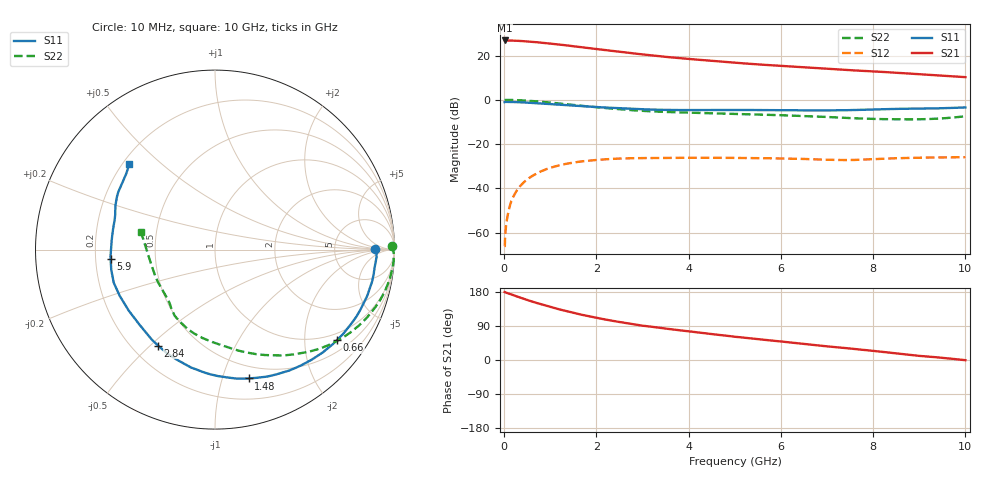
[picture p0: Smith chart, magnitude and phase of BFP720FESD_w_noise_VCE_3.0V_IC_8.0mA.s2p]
! Infineon Technologies  Discrete & RF Semiconductors
! BFP720FESD
! VCE =  3.0 V,  IC =  8.0 mA
! Common Emitter S-Parameters:  Jan 2016
# GHz  S  MA  R  50
!  f  S11  S21  S12  S22
! GHz  MAG  ANG  MAG  ANG  MAG  ANG  MAG  ANG
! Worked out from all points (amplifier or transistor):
!   233 points, 10 MHz to 10 GHz, reference 50 ohm
!   highest |S21| = 26.8 dB at 10 MHz (marker M1)
!   |S21| within 3 dB of that: start of sweep to 1.666 GHz
!   unconditionally stable (mu >= 1): start of sweep to 11.65 MHz; 6.659 GHz to end of sweep
!   at 200 MHz: K = 0.04, MSG = 35.2 dB, |S12| = -43.6 dB
!   at 1.74 GHz: K = 0.25, MSG = 25.6 dB, |S12| = -27.6 dB
!   at 10 GHz: K = 1.35, MAG = 14.5 dB, |S12| = -25.9 dB
!   lowest NFmin = 0.62 dB at 450 MHz
!   S11 on the Smith chart (normalised r, x): 10 MHz: 17, +0; 660 MHz: 0.80, -2.83; 1.48 GHz: 0.38, -1.22; 2.84 GHz: 0.30, -0.53; 5.9 GHz: 0.26, -0.04; 10 GHz: 0.23, +0.40
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0.01  0.8895 0.1  21.86 179.4  0.0005 1.8  0.9853 1.3
0.04  0.9004 -2.2  21.7 177.9  0.0014 81.9  0.9963 -1.3
0.11  0.8949 -6.3  21.76 175.2  0.0036 85.6  0.9965 -4.0
0.32  0.8835 -18.2  21.39 166.0  0.0104 79.0  0.9807 -11.7
0.5  0.8654 -28.1  20.78 158.4  0.016 73.5  0.9578 -18.0
0.66  0.8462 -36.5  20.11 152.2  0.0206 68.5  0.9314 -23.3
0.9  0.8164 -48.7  19.04 143.6  0.0269 61.7  0.8884 -30.9
1.1  0.7909 -58.4  18.11 136.8  0.0314 56.2  0.8482 -36.9
1.28  0.7671 -66.7  17.27 131.0  0.0349 51.6  0.8118 -42.1
1.48  0.7419 -75.3  16.31 125.1  0.0382 46.9  0.7718 -47.5
1.68  0.7187 -83.4  15.42 119.4  0.0408 42.6  0.7341 -52.5
1.92  0.6949 -92.3  14.36 113.3  0.0434 38.2  0.6938 -58.2
2.2  0.67 -101.6  13.24 106.7  0.0456 33.5  0.6526 -64.3
2.58  0.6397 -113.4  11.89 98.6  0.0476 28.0  0.6038 -72.2
2.84  0.6214 -120.7  11.06 93.6  0.0484 24.8  0.5771 -77.0
3.4  0.5954 -133.3  9.552 84.4  0.0488 20.2  0.5388 -84.8
4.5  0.59 -154.0  7.596 68.3  0.0495 14.0  0.4979 -97.9
5.1  0.592 -163.3  6.762 60.2  0.0489 11.5  0.479 -104.8
5.9  0.5839 -174.7  5.937 50.1  0.0478 9.1  0.4534 -113.7
6.8  0.5779 171.7  5.186 38.6  0.0453 8.6  0.419 -124.1
8.4  0.6217 151.3  4.15 18.7  0.0478 15.4  0.3659 -150.1
10  0.6747 135.0  3.251 -0.5  0.0508 14.0  0.4255 166.3
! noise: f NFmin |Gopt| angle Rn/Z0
0.45  0.62  0.38  3  0.13
2.4  0.71  0.25  30  0.13
5.5  0.86  0.32  112  0.09
10  1.34  0.28  -156  0.1
